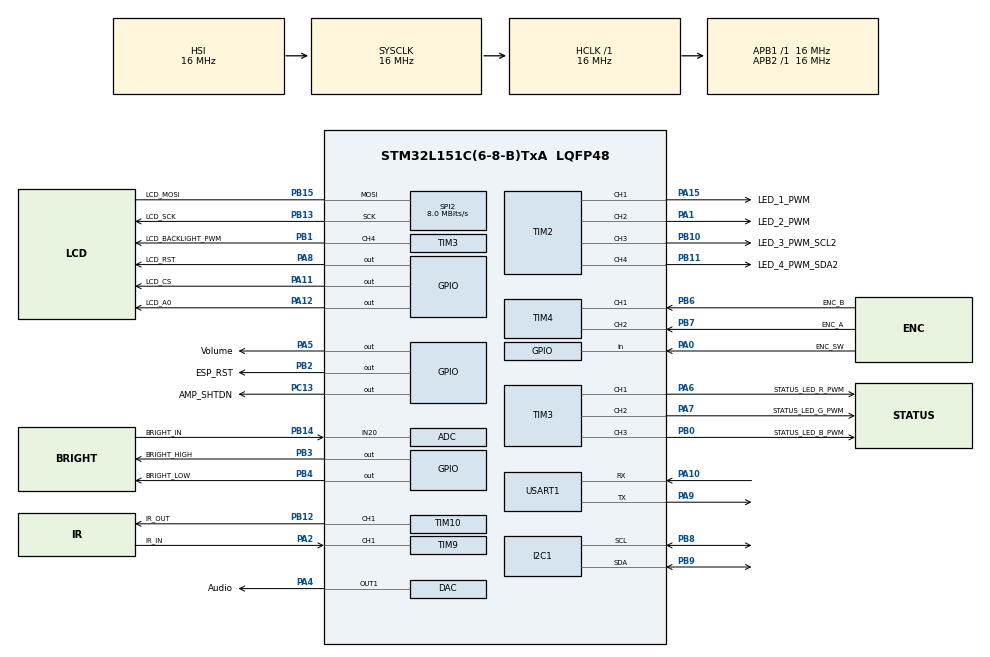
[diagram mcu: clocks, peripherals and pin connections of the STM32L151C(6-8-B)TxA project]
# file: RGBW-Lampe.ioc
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ADC.Channel-0\#ChannelRegularConversion=ADC_CHANNEL_20
ADC.ClockPrescaler=ADC_CLOCK_ASYNC_DIV4
ADC.NbrOfConversionFlag=1
ADC.Rank-0\#ChannelRegularConversion=1
ADC.SamplingTime-0\#ChannelRegularConversion=ADC_SAMPLETIME_384CYCLES
DAC.DAC_Trigger=DAC_TRIGGER_T7_TRGO
Dma.DAC_CH1.2.Direction=DMA_MEMORY_TO_PERIPH
Dma.DAC_CH1.2.Instance=DMA1_Channel2
Dma.DAC_CH1.2.MemDataAlignment=DMA_MDATAALIGN_WORD
Dma.DAC_CH1.2.MemInc=DMA_MINC_ENABLE
Dma.DAC_CH1.2.Mode=DMA_CIRCULAR
Dma.DAC_CH1.2.PeriphDataAlignment=DMA_PDATAALIGN_WORD
Dma.DAC_CH1.2.PeriphInc=DMA_PINC_DISABLE
Dma.DAC_CH1.2.Priority=DMA_PRIORITY_LOW
Dma.Request0=USART1_RX
Dma.Request1=USART1_TX
Dma.Request2=DAC_CH1
Dma.USART1_RX.0.Direction=DMA_PERIPH_TO_MEMORY
Dma.USART1_RX.0.Instance=DMA1_Channel5
Dma.USART1_RX.0.MemDataAlignment=DMA_MDATAALIGN_BYTE
Dma.USART1_RX.0.MemInc=DMA_MINC_ENABLE
Dma.USART1_RX.0.Mode=DMA_CIRCULAR
Dma.USART1_RX.0.PeriphDataAlignment=DMA_PDATAALIGN_BYTE
Dma.USART1_RX.0.PeriphInc=DMA_PINC_DISABLE
Dma.USART1_RX.0.Priority=DMA_PRIORITY_LOW
Dma.USART1_TX.1.Direction=DMA_MEMORY_TO_PERIPH
Dma.USART1_TX.1.Instance=DMA1_Channel4
Dma.USART1_TX.1.MemDataAlignment=DMA_MDATAALIGN_BYTE
Dma.USART1_TX.1.MemInc=DMA_MINC_ENABLE
Dma.USART1_TX.1.Mode=DMA_NORMAL
Dma.USART1_TX.1.PeriphDataAlignment=DMA_PDATAALIGN_BYTE
Dma.USART1_TX.1.PeriphInc=DMA_PINC_DISABLE
Dma.USART1_TX.1.Priority=DMA_PRIORITY_LOW
Mcu.Family=STM32L1
Mcu.Name=STM32L151C(6-8-B)TxA
Mcu.Package=LQFP48
NVIC.ADC1_IRQn=true\:0\:0\:false\:false\:true\:true\:true\:true
NVIC.DMA1_Channel2_IRQn=true\:0\:0\:false\:false\:true\:false\:true\:true
NVIC.DMA1_Channel4_IRQn=true\:0\:0\:false\:false\:true\:false\:true\:true
NVIC.DMA1_Channel5_IRQn=true\:0\:0\:false\:false\:true\:false\:true\:true
NVIC.PriorityGroup=NVIC_PRIORITYGROUP_4
NVIC.RTC_Alarm_IRQn=true\:0\:0\:false\:false\:true\:true\:true\:true
NVIC.TIM10_IRQn=true\:0\:0\:false\:false\:true\:true\:true\:true
NVIC.TIM11_IRQn=true\:0\:0\:false\:false\:true\:true\:true\:true
NVIC.TIM6_IRQn=true\:0\:0\:false\:false\:true\:true\:true\:true
NVIC.USART1_IRQn=true\:0\:0\:false\:false\:true\:true\:true\:true
PA0-WKUP1.GPIO_Label=ENC_SW
PA0-WKUP1.GPIO_PuPd=GPIO_PULLUP
PA0-WKUP1.Signal=GPIO_Input
PA1.GPIO_Label=LED_2_PWM
PA1.GPIO_Speed=GPIO_SPEED_FREQ_LOW
PA1.Signal=S_TIM2_CH2
PA10.GPIO_PuPd=GPIO_PULLDOWN
PA10.GPIO_Speed=GPIO_SPEED_FREQ_HIGH
PA10.Mode=Asynchronous
PA10.Signal=USART1_RX
PA11.GPIO_Label=LCD_CS
PA11.Signal=GPIO_Output
PA12.GPIO_Label=LCD_A0
PA12.Signal=GPIO_Output
PA13.Mode=Serial_Wire
PA13.Signal=SYS_JTMS-SWDIO
PA14.Mode=Serial_Wire
PA14.Signal=SYS_JTCK-SWCLK
PA15.GPIO_Label=LED_1_PWM
PA15.Signal=S_TIM2_CH1_ETR
PA2.GPIO_Label=IR_IN
PA2.GPIO_PuPd=GPIO_PULLUP
PA2.GPIO_Speed=GPIO_SPEED_FREQ_MEDIUM
PA2.Signal=S_TIM9_CH1
PA4.GPIO_Label=Audio
PA4.Signal=COMP_DAC1_group
PA5.GPIO_Label=Volume
PA5.GPIO_ModeDefaultOutputPP=GPIO_MODE_OUTPUT_OD
PA5.GPIO_PuPd=GPIO_NOPULL
PA5.Signal=GPIO_Output
PA6.GPIO_Label=STATUS_LED_R_PWM
PA6.Signal=S_TIM3_CH1
PA7.GPIO_Label=STATUS_LED_G_PWM
PA7.Signal=S_TIM3_CH2
PA8.GPIO_Label=LCD_RST
PA8.Signal=GPIO_Output
PA9.GPIO_Speed=GPIO_SPEED_FREQ_HIGH
PA9.Mode=Asynchronous
PA9.Signal=USART1_TX
PB0.GPIO_Label=STATUS_LED_B_PWM
PB0.Signal=S_TIM3_CH3
PB1.GPIO_Label=LCD_BACKLIGHT_PWM
PB1.Signal=S_TIM3_CH4
PB10.GPIO_Label=LED_3_PWM_SCL2
PB10.Signal=S_TIM2_CH3
PB11.GPIO_Label=LED_4_PWM_SDA2
PB11.Signal=S_TIM2_CH4
PB12.GPIO_Label=IR_OUT
PB12.GPIO_PuPd=GPIO_PULLDOWN
PB12.GPIO_Speed=GPIO_SPEED_FREQ_HIGH
PB12.Signal=S_TIM10_CH1
PB13.GPIO_Label=LCD_SCK
PB13.Mode=Simplex_Bidirectional_Master
PB13.Signal=SPI2_SCK
PB14.GPIO_Label=BRIGHT_IN
PB14.Mode=IN20
PB14.Signal=ADC_IN20
PB15.GPIO_Label=LCD_MOSI
PB15.Mode=Simplex_Bidirectional_Master
PB15.Signal=SPI2_MOSI
PB2.GPIO_Label=ESP_RST
PB2.PinState=GPIO_PIN_SET
PB2.Signal=GPIO_Output
PB3.GPIO_Label=BRIGHT_HIGH
PB3.GPIO_ModeDefaultOutputPP=GPIO_MODE_OUTPUT_PP
PB3.PinState=GPIO_PIN_SET
PB3.Signal=GPIO_Output
PB4.GPIO_Label=BRIGHT_LOW
PB4.PinState=GPIO_PIN_SET
PB4.Signal=GPIO_Output
PB6.GPIO_Label=ENC_B
PB6.GPIO_PuPd=GPIO_PULLUP
PB6.Signal=S_TIM4_CH1
PB7.GPIO_Label=ENC_A
PB7.GPIO_PuPd=GPIO_PULLUP
PB7.Signal=S_TIM4_CH2
PB8.GPIO_Pu=GPIO_PULLUP
PB8.Mode=I2C
PB8.Signal=I2C1_SCL
PB9.GPIO_Pu=GPIO_PULLUP
PB9.Mode=I2C
PB9.Signal=I2C1_SDA
PC13-WKUP2.GPIO_Label=AMP_SHTDN
PC13-WKUP2.GPIO_ModeDefaultOutputPP=GPIO_MODE_OUTPUT_PP
PC13-WKUP2.GPIO_PuPd=GPIO_NOPULL
PC13-WKUP2.PinState=GPIO_PIN_SET
PC13-WKUP2.Signal=GPIO_Output
PC14-OSC32_IN.Mode=LSE-External-Oscillator
PC14-OSC32_IN.Signal=RCC_OSC32_IN
PC15-OSC32_OUT.Mode=LSE-External-Oscillator
PC15-OSC32_OUT.Signal=RCC_OSC32_OUT
PH0-OSC_IN.Signal=RCC_OSC_IN
PH1-OSC_OUT.Signal=RCC_OSC_OUT
ProjectManager.HeapSize=0x200
ProjectManager.StackSize=0x400
ProjectManager.TargetToolchain=STM32CubeIDE
RCC.48MHZClocksFreq_Value=32000000
RCC.AHBFreq_Value=16000000
RCC.APB1Freq_Value=16000000
RCC.APB1TimFreq_Value=16000000
RCC.APB2Freq_Value=16000000
RCC.APB2TimFreq_Value=16000000
RCC.HCLKFreq_Value=16000000
RCC.HSE_VALUE=24000000
RCC.HSI_VALUE=16000000
RCC.MSI_VALUE=2097000
RCC.PLLMUL=RCC_PLL_MUL4
RCC.PREFETCH_ENABLE=1
RCC.RTCClockSelection=RCC_RTCCLKSOURCE_LSE
RCC.RTCClockSelectionVirtual=RCC_RTCCLKSOURCE_LSE
RCC.SYSCLKFreq_VALUE=16000000
RCC.SYSCLKSource=RCC_SYSCLKSOURCE_HSI
RCC.VCOOutputFreq_Value=64000000
RTC.Alarm-Alarm\ A=RTC_ALARM_A
RTC.Format=RTC_FORMAT_BIN
RTC.Year=23
SH.COMP_DAC1_group.0=DAC_OUT1,DAC_OUT1
SH.S_TIM10_CH1.0=TIM10_CH1,PWM Generation1 CH1
SH.S_TIM2_CH1_ETR.0=TIM2_CH1,PWM Generation1 CH1
SH.S_TIM2_CH2.0=TIM2_CH2,PWM Generation2 CH2
SH.S_TIM2_CH3.0=TIM2_CH3,PWM Generation3 CH3
SH.S_TIM2_CH4.0=TIM2_CH4,PWM Generation4 CH4
SH.S_TIM3_CH1.0=TIM3_CH1,PWM Generation1 CH1
SH.S_TIM3_CH2.0=TIM3_CH2,PWM Generation2 CH2
SH.S_TIM3_CH3.0=TIM3_CH3,PWM Generation3 CH3
SH.S_TIM3_CH4.0=TIM3_CH4,PWM Generation4 CH4
SH.S_TIM4_CH1.0=TIM4_CH1,Encoder_Interface
SH.S_TIM4_CH2.0=TIM4_CH2,Encoder_Interface
SH.S_TIM9_CH1.0=TIM9_CH1,Input_Capture1_from_TI1
SPI2.BaudRatePrescaler=SPI_BAUDRATEPRESCALER_2
SPI2.CalculateBaudRate=8.0 MBits/s
SPI2.Direction=SPI_DIRECTION_1LINE
SPI2.Mode=SPI_MODE_MASTER
SPI2.VirtualType=VM_MASTER
TIM10.Channel=TIM_CHANNEL_1
TIM10.Period=444
TIM10.Pulse=111
TIM11.Period=1600
TIM11.Prescaler=100
TIM2.Channel-PWM\ Generation1\ CH1=TIM_CHANNEL_1
TIM2.Channel-PWM\ Generation2\ CH2=TIM_CHANNEL_2
TIM2.Channel-PWM\ Generation3\ CH3=TIM_CHANNEL_3
TIM2.Channel-PWM\ Generation4\ CH4=TIM_CHANNEL_4
TIM3.Channel-PWM\ Generation1\ CH1=TIM_CHANNEL_1
TIM3.Channel-PWM\ Generation2\ CH2=TIM_CHANNEL_2
TIM3.Channel-PWM\ Generation3\ CH3=TIM_CHANNEL_3
TIM3.Channel-PWM\ Generation4\ CH4=TIM_CHANNEL_4
TIM3.Pulse-PWM\ Generation1\ CH1=0
TIM3.Pulse-PWM\ Generation2\ CH2=0
TIM3.Pulse-PWM\ Generation3\ CH3=0
TIM6.Period=3556
TIM7.Period=100
TIM7.Prescaler=1
TIM7.TIM_MasterOutputTrigger=TIM_TRGO_UPDATE
TIM9.Channel-Input_Capture1_from_TI1=TIM_CHANNEL_1
USART1.VirtualMode=VM_ASYNC
VP_CRC_VS_CRC.Mode=CRC_Activate
VP_RTC_VS_RTC_Activate.Mode=RTC_Enabled
VP_RTC_VS_RTC_Alarm_A_Intern.Mode=Alarm A
VP_RTC_VS_RTC_Calendar.Mode=RTC_Calendar
VP_TIM11_VS_ClockSourceINT.Mode=Internal
VP_TIM6_VS_ClockSourceINT.Mode=Enable_Timer
VP_TIM7_VS_ClockSourceINT.Mode=Enable_Timer
VP_TIM9_VS_ClockSourceINT.Mode=Internal
board=custom

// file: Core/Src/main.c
/* USER CODE BEGIN Header */
/**
 ******************************************************************************
 * @file           : main.c
 * @brief          : Main program body
 ******************************************************************************
 * @attention
 *
 * Copyright (c) 2022 STMicroelectronics.
 * All rights reserved.
 *
 * This software is licensed under terms that can be found in the LICENSE file
 * in the root directory of this software component.
 * If no LICENSE file comes with this software, it is provided AS-IS.
 *
 ******************************************************************************
 */
/* USER CODE END Header */
#include "main.h"

ADC_HandleTypeDef hadc;

CRC_HandleTypeDef hcrc;

DAC_HandleTypeDef hdac;
DMA_HandleTypeDef hdma_dac_ch1;

I2C_HandleTypeDef hi2c1;

RTC_HandleTypeDef hrtc;

SPI_HandleTypeDef hspi2;

TIM_HandleTypeDef htim2;
TIM_HandleTypeDef htim3;
TIM_HandleTypeDef htim4;
TIM_HandleTypeDef htim6;
TIM_HandleTypeDef htim7;
TIM_HandleTypeDef htim9;
TIM_HandleTypeDef htim10;
TIM_HandleTypeDef htim11;

UART_HandleTypeDef huart1;
DMA_HandleTypeDef hdma_usart1_rx;
DMA_HandleTypeDef hdma_usart1_tx;

/* USER CODE BEGIN PV */
bool volatile TimerFlag;
/* USER CODE END PV */

void SystemClock_Config(void);
static void MX_GPIO_Init(void);
static void MX_DMA_Init(void);
static void MX_ADC_Init(void);
static void MX_DAC_Init(void);
static void MX_I2C1_Init(void);
static void MX_SPI2_Init(void);
static void MX_TIM2_Init(void);
static void MX_TIM3_Init(void);
static void MX_TIM4_Init(void);
static void MX_TIM9_Init(void);
static void MX_USART1_UART_Init(void);
static void MX_RTC_Init(void);
static void MX_TIM11_Init(void);
static void MX_TIM6_Init(void);
static void MX_CRC_Init(void);
static void MX_TIM7_Init(void);
static void MX_TIM10_Init(void);
/* USER CODE BEGIN PFP */
#define PUTCHAR_PROTOTYPE int __io_putchar(int ch)
/* USER CODE END PFP */

int main(void)
{

  /* MCU Configuration--------------------------------------------------------*/

  /* Reset of all peripherals, Initializes the Flash interface and the Systick. */
  HAL_Init();

  /* Configure the system clock */
  SystemClock_Config();

  /* Initialize all configured peripherals */
  MX_GPIO_Init();
  MX_DMA_Init();
  MX_ADC_Init();
  MX_DAC_Init();
  MX_I2C1_Init();
  MX_SPI2_Init();
  MX_TIM2_Init();
  MX_TIM3_Init();
  MX_TIM4_Init();
  MX_TIM9_Init();
  MX_USART1_UART_Init();
  MX_RTC_Init();
  MX_TIM11_Init();
  MX_TIM6_Init();
  MX_CRC_Init();
  MX_TIM7_Init();
  MX_TIM10_Init();
  /* USER CODE BEGIN 2 */
  	// DMA: UART, DAC
  	// ADC: external brightness
    // DAC: acoustic alarm signal generation
    // I2C1: acceleration sensor (planned)
    // SPI2: display (planned)
  	// TIM2: LED PWM
  	// TIM3: status LED PWM
    // TIM4: rotational encoder
	// TIM6: RC5 decoder timing
	// TIM7: acoustic alarm signal generation
    // TIM9: alternative RC5 decoder (planned)
    // TIM10: RC5 sender
    // TIM11: main control loop
    // USART1: terminal
    // CRC: EEPROM change check

	//load RAM values from EEPROM
	SettingsInit(&hcrc);

	Init_Terminal(&huart1);
	SettingsCommands_Init();
	Rtc_Init();
	PWM_Init(&htim2);
	Status_LED_Init(&htim3);
	Encoder_Init(&htim4);
	Init_ExtBrightness(&hadc);
	Init_FadeLight();
	RC5_Init(&htim6, &htim10);

	/*##-1- Start the TIM Base generation in interrupt mode ####################*/
	pTIM_CallbackTypeDef pMainTimerCallback = *MainTimerCallback;
	HAL_TIM_RegisterCallback(&htim11, HAL_TIM_PERIOD_ELAPSED_CB_ID, pMainTimerCallback);
	HAL_TIM_Base_Start_IT(&htim11); //main control loop

	SwAllLightOn();
  /* USER CODE END 2 */

  /* Infinite loop */
  /* USER CODE BEGIN WHILE */
	while (1)
	{
		if(TimerFlag)
		{
			TimerFlag=0;
			Keys(!HAL_GPIO_ReadPin(ENC_SW_GPIO_Port, ENC_SW_Pin));
			Encoder();
			MainMenu();
			Sample_ExtBrightness();
			LEDOptions();
		}
		Execute_Terminal();
		HAL_PWR_EnterSLEEPMode(PWR_MAINREGULATOR_ON, PWR_SLEEPENTRY_WFI);
    /* USER CODE END WHILE */

	}
}

void SystemClock_Config(void)
{
  RCC_OscInitTypeDef RCC_OscInitStruct = {0};
  RCC_ClkInitTypeDef RCC_ClkInitStruct = {0};
  RCC_PeriphCLKInitTypeDef PeriphClkInit = {0};

  /** Configure the main internal regulator output voltage
  */
  __HAL_PWR_VOLTAGESCALING_CONFIG(PWR_REGULATOR_VOLTAGE_SCALE1);

  /** Initializes the RCC Oscillators according to the specified parameters
  * in the RCC_OscInitTypeDef structure.
  */
  RCC_OscInitStruct.OscillatorType = RCC_OSCILLATORTYPE_HSI|RCC_OSCILLATORTYPE_LSE;
  RCC_OscInitStruct.LSEState = RCC_LSE_ON;
  RCC_OscInitStruct.HSIState = RCC_HSI_ON;
  RCC_OscInitStruct.HSICalibrationValue = RCC_HSICALIBRATION_DEFAULT;
  RCC_OscInitStruct.PLL.PLLState = RCC_PLL_NONE;
  if (HAL_RCC_OscConfig(&RCC_OscInitStruct) != HAL_OK)
  {
    Error_Handler();
  }

  /** Initializes the CPU, AHB and APB buses clocks
  */
  RCC_ClkInitStruct.ClockType = RCC_CLOCKTYPE_HCLK|RCC_CLOCKTYPE_SYSCLK
                              |RCC_CLOCKTYPE_PCLK1|RCC_CLOCKTYPE_PCLK2;
  RCC_ClkInitStruct.SYSCLKSource = RCC_SYSCLKSOURCE_HSI;
  RCC_ClkInitStruct.AHBCLKDivider = RCC_SYSCLK_DIV1;
  RCC_ClkInitStruct.APB1CLKDivider = RCC_HCLK_DIV1;
  RCC_ClkInitStruct.APB2CLKDivider = RCC_HCLK_DIV1;

  if (HAL_RCC_ClockConfig(&RCC_ClkInitStruct, FLASH_LATENCY_0) != HAL_OK)
  {
    Error_Handler();
  }
  PeriphClkInit.PeriphClockSelection = RCC_PERIPHCLK_RTC;
  PeriphClkInit.RTCClockSelection = RCC_RTCCLKSOURCE_LSE;
  if (HAL_RCCEx_PeriphCLKConfig(&PeriphClkInit) != HAL_OK)
  {
    Error_Handler();
  }
}

static void MX_ADC_Init(void)
{

  ADC_ChannelConfTypeDef sConfig = {0};

  /** Configure the global features of the ADC (Clock, Resolution, Data Alignment and number of conversion)
  */
  hadc.Instance = ADC1;
  hadc.Init.ClockPrescaler = ADC_CLOCK_ASYNC_DIV4;
  hadc.Init.Resolution = ADC_RESOLUTION_12B;
  hadc.Init.DataAlign = ADC_DATAALIGN_RIGHT;
  hadc.Init.ScanConvMode = ADC_SCAN_DISABLE;
  hadc.Init.EOCSelection = ADC_EOC_SEQ_CONV;
  hadc.Init.LowPowerAutoWait = ADC_AUTOWAIT_DISABLE;
  hadc.Init.LowPowerAutoPowerOff = ADC_AUTOPOWEROFF_DISABLE;
  hadc.Init.ChannelsBank = ADC_CHANNELS_BANK_A;
  hadc.Init.ContinuousConvMode = DISABLE;
  hadc.Init.NbrOfConversion = 1;
  hadc.Init.DiscontinuousConvMode = DISABLE;
  hadc.Init.ExternalTrigConv = ADC_SOFTWARE_START;
  hadc.Init.ExternalTrigConvEdge = ADC_EXTERNALTRIGCONVEDGE_NONE;
  hadc.Init.DMAContinuousRequests = DISABLE;
  if (HAL_ADC_Init(&hadc) != HAL_OK)
  {
    Error_Handler();
  }

  /** Configure for the selected ADC regular channel its corresponding rank in the sequencer and its sample time.
  */
  sConfig.Channel = ADC_CHANNEL_20;
  sConfig.Rank = ADC_REGULAR_RANK_1;
  sConfig.SamplingTime = ADC_SAMPLETIME_384CYCLES;
  if (HAL_ADC_ConfigChannel(&hadc, &sConfig) != HAL_OK)
  {
    Error_Handler();
  }

}

static void MX_CRC_Init(void)
{

  hcrc.Instance = CRC;
  if (HAL_CRC_Init(&hcrc) != HAL_OK)
  {
    Error_Handler();
  }

}

static void MX_DAC_Init(void)
{

  DAC_ChannelConfTypeDef sConfig = {0};

  /** DAC Initialization
  */
  hdac.Instance = DAC;
  if (HAL_DAC_Init(&hdac) != HAL_OK)
  {
    Error_Handler();
  }

  /** DAC channel OUT1 config
  */
  sConfig.DAC_Trigger = DAC_TRIGGER_T7_TRGO;
  sConfig.DAC_OutputBuffer = DAC_OUTPUTBUFFER_ENABLE;
  if (HAL_DAC_ConfigChannel(&hdac, &sConfig, DAC_CHANNEL_1) != HAL_OK)
  {
    Error_Handler();
  }

}

static void MX_I2C1_Init(void)
{

  hi2c1.Instance = I2C1;
  hi2c1.Init.ClockSpeed = 100000;
  hi2c1.Init.DutyCycle = I2C_DUTYCYCLE_2;
  hi2c1.Init.OwnAddress1 = 0;
  hi2c1.Init.AddressingMode = I2C_ADDRESSINGMODE_7BIT;
  hi2c1.Init.DualAddressMode = I2C_DUALADDRESS_DISABLE;
  hi2c1.Init.OwnAddress2 = 0;
  hi2c1.Init.GeneralCallMode = I2C_GENERALCALL_DISABLE;
  hi2c1.Init.NoStretchMode = I2C_NOSTRETCH_DISABLE;
  if (HAL_I2C_Init(&hi2c1) != HAL_OK)
  {
    Error_Handler();
  }

}

static void MX_RTC_Init(void)
{

  RTC_TimeTypeDef sTime = {0};
  RTC_DateTypeDef sDate = {0};
  RTC_AlarmTypeDef sAlarm = {0};

  /** Initialize RTC Only
  */
  hrtc.Instance = RTC;
  hrtc.Init.HourFormat = RTC_HOURFORMAT_24;
  hrtc.Init.AsynchPrediv = 127;
  hrtc.Init.SynchPrediv = 255;
  hrtc.Init.OutPut = RTC_OUTPUT_DISABLE;
  hrtc.Init.OutPutPolarity = RTC_OUTPUT_POLARITY_HIGH;
  hrtc.Init.OutPutType = RTC_OUTPUT_TYPE_OPENDRAIN;
  if (HAL_RTC_Init(&hrtc) != HAL_OK)
  {
    Error_Handler();
  }

  /** Initialize RTC and set the Time and Date
  */
  sTime.Hours = 0;
  sTime.Minutes = 0;
  sTime.Seconds = 0;
  sTime.DayLightSaving = RTC_DAYLIGHTSAVING_NONE;
  sTime.StoreOperation = RTC_STOREOPERATION_RESET;
  if (HAL_RTC_SetTime(&hrtc, &sTime, RTC_FORMAT_BIN) != HAL_OK)
  {
    Error_Handler();
  }
  sDate.WeekDay = RTC_WEEKDAY_MONDAY;
  sDate.Month = RTC_MONTH_JANUARY;
  sDate.Date = 1;
  sDate.Year = 23;

  if (HAL_RTC_SetDate(&hrtc, &sDate, RTC_FORMAT_BIN) != HAL_OK)
  {
    Error_Handler();
  }

  /** Enable the Alarm A
  */
  sAlarm.AlarmTime.Hours = 0;
  sAlarm.AlarmTime.Minutes = 0;
  sAlarm.AlarmTime.Seconds = 0;
  sAlarm.AlarmTime.SubSeconds = 0;
  sAlarm.AlarmTime.DayLightSaving = RTC_DAYLIGHTSAVING_NONE;
  sAlarm.AlarmTime.StoreOperation = RTC_STOREOPERATION_RESET;
  sAlarm.AlarmMask = RTC_ALARMMASK_NONE;
  sAlarm.AlarmSubSecondMask = RTC_ALARMSUBSECONDMASK_ALL;
  sAlarm.AlarmDateWeekDaySel = RTC_ALARMDATEWEEKDAYSEL_DATE;
  sAlarm.AlarmDateWeekDay = 1;
  sAlarm.Alarm = RTC_ALARM_A;
  if (HAL_RTC_SetAlarm_IT(&hrtc, &sAlarm, RTC_FORMAT_BIN) != HAL_OK)
  {
    Error_Handler();
  }

}

static void MX_SPI2_Init(void)
{

  /* SPI2 parameter configuration*/
  hspi2.Instance = SPI2;
  hspi2.Init.Mode = SPI_MODE_MASTER;
  hspi2.Init.Direction = SPI_DIRECTION_1LINE;
  hspi2.Init.DataSize = SPI_DATASIZE_8BIT;
  hspi2.Init.CLKPolarity = SPI_POLARITY_LOW;
  hspi2.Init.CLKPhase = SPI_PHASE_1EDGE;
  hspi2.Init.NSS = SPI_NSS_SOFT;
  hspi2.Init.BaudRatePrescaler = SPI_BAUDRATEPRESCALER_2;
  hspi2.Init.FirstBit = SPI_FIRSTBIT_MSB;
  hspi2.Init.TIMode = SPI_TIMODE_DISABLE;
  hspi2.Init.CRCCalculation = SPI_CRCCALCULATION_DISABLE;
  hspi2.Init.CRCPolynomial = 10;
  if (HAL_SPI_Init(&hspi2) != HAL_OK)
  {
    Error_Handler();
  }

}

static void MX_TIM2_Init(void)
{

  TIM_MasterConfigTypeDef sMasterConfig = {0};
  TIM_OC_InitTypeDef sConfigOC = {0};

  htim2.Instance = TIM2;
  htim2.Init.Prescaler = 0;
  htim2.Init.CounterMode = TIM_COUNTERMODE_UP;
  htim2.Init.Period = 65535;
  htim2.Init.ClockDivision = TIM_CLOCKDIVISION_DIV1;
  htim2.Init.AutoReloadPreload = TIM_AUTORELOAD_PRELOAD_DISABLE;
  if (HAL_TIM_PWM_Init(&htim2) != HAL_OK)
  {
    Error_Handler();
  }
  sMasterConfig.MasterOutputTrigger = TIM_TRGO_RESET;
  sMasterConfig.MasterSlaveMode = TIM_MASTERSLAVEMODE_DISABLE;
  if (HAL_TIMEx_MasterConfigSynchronization(&htim2, &sMasterConfig) != HAL_OK)
  {
    Error_Handler();
  }
  sConfigOC.OCMode = TIM_OCMODE_PWM1;
  sConfigOC.Pulse = 0;
  sConfigOC.OCPolarity = TIM_OCPOLARITY_HIGH;
  sConfigOC.OCFastMode = TIM_OCFAST_DISABLE;
  if (HAL_TIM_PWM_ConfigChannel(&htim2, &sConfigOC, TIM_CHANNEL_1) != HAL_OK)
  {
    Error_Handler();
  }
  if (HAL_TIM_PWM_ConfigChannel(&htim2, &sConfigOC, TIM_CHANNEL_2) != HAL_OK)
  {
    Error_Handler();
  }
  if (HAL_TIM_PWM_ConfigChannel(&htim2, &sConfigOC, TIM_CHANNEL_3) != HAL_OK)
  {
    Error_Handler();
  }
  if (HAL_TIM_PWM_ConfigChannel(&htim2, &sConfigOC, TIM_CHANNEL_4) != HAL_OK)
  {
    Error_Handler();
  }
  HAL_TIM_MspPostInit(&htim2);

}

static void MX_TIM3_Init(void)
{

  TIM_MasterConfigTypeDef sMasterConfig = {0};
  TIM_OC_InitTypeDef sConfigOC = {0};

  htim3.Instance = TIM3;
  htim3.Init.Prescaler = 0;
  htim3.Init.CounterMode = TIM_COUNTERMODE_UP;
  htim3.Init.Period = 65535;
  htim3.Init.ClockDivision = TIM_CLOCKDIVISION_DIV1;
  htim3.Init.AutoReloadPreload = TIM_AUTORELOAD_PRELOAD_DISABLE;
  if (HAL_TIM_PWM_Init(&htim3) != HAL_OK)
  {
    Error_Handler();
  }
  sMasterConfig.MasterOutputTrigger = TIM_TRGO_RESET;
  sMasterConfig.MasterSlaveMode = TIM_MASTERSLAVEMODE_DISABLE;
  if (HAL_TIMEx_MasterConfigSynchronization(&htim3, &sMasterConfig) != HAL_OK)
  {
    Error_Handler();
  }
  sConfigOC.OCMode = TIM_OCMODE_PWM1;
  sConfigOC.Pulse = 0;
  sConfigOC.OCPolarity = TIM_OCPOLARITY_HIGH;
  sConfigOC.OCFastMode = TIM_OCFAST_DISABLE;
  if (HAL_TIM_PWM_ConfigChannel(&htim3, &sConfigOC, TIM_CHANNEL_1) != HAL_OK)
  {
    Error_Handler();
  }
  if (HAL_TIM_PWM_ConfigChannel(&htim3, &sConfigOC, TIM_CHANNEL_2) != HAL_OK)
  {
    Error_Handler();
  }
  if (HAL_TIM_PWM_ConfigChannel(&htim3, &sConfigOC, TIM_CHANNEL_3) != HAL_OK)
  {
    Error_Handler();
  }
  if (HAL_TIM_PWM_ConfigChannel(&htim3, &sConfigOC, TIM_CHANNEL_4) != HAL_OK)
  {
    Error_Handler();
  }
  HAL_TIM_MspPostInit(&htim3);

}

static void MX_TIM4_Init(void)
{

  TIM_Encoder_InitTypeDef sConfig = {0};
  TIM_MasterConfigTypeDef sMasterConfig = {0};

  htim4.Instance = TIM4;
  htim4.Init.Prescaler = 0;
  htim4.Init.CounterMode = TIM_COUNTERMODE_UP;
  htim4.Init.Period = 65535;
  htim4.Init.ClockDivision = TIM_CLOCKDIVISION_DIV1;
  htim4.Init.AutoReloadPreload = TIM_AUTORELOAD_PRELOAD_DISABLE;
  sConfig.EncoderMode = TIM_ENCODERMODE_TI1;
  sConfig.IC1Polarity = TIM_ICPOLARITY_RISING;
  sConfig.IC1Selection = TIM_ICSELECTION_DIRECTTI;
  sConfig.IC1Prescaler = TIM_ICPSC_DIV1;
  sConfig.IC1Filter = 0;
  sConfig.IC2Polarity = TIM_ICPOLARITY_RISING;
  sConfig.IC2Selection = TIM_ICSELECTION_DIRECTTI;
  sConfig.IC2Prescaler = TIM_ICPSC_DIV1;
  sConfig.IC2Filter = 0;
  if (HAL_TIM_Encoder_Init(&htim4, &sConfig) != HAL_OK)
  {
    Error_Handler();
  }
  sMasterConfig.MasterOutputTrigger = TIM_TRGO_RESET;
  sMasterConfig.MasterSlaveMode = TIM_MASTERSLAVEMODE_DISABLE;
  if (HAL_TIMEx_MasterConfigSynchronization(&htim4, &sMasterConfig) != HAL_OK)
  {
    Error_Handler();
  }

}

static void MX_TIM6_Init(void)
{

  TIM_MasterConfigTypeDef sMasterConfig = {0};

  htim6.Instance = TIM6;
  htim6.Init.Prescaler = 0;
  htim6.Init.CounterMode = TIM_COUNTERMODE_UP;
  htim6.Init.Period = 3556;
  htim6.Init.AutoReloadPreload = TIM_AUTORELOAD_PRELOAD_DISABLE;
  if (HAL_TIM_Base_Init(&htim6) != HAL_OK)
  {
    Error_Handler();
  }
  sMasterConfig.MasterOutputTrigger = TIM_TRGO_RESET;
  sMasterConfig.MasterSlaveMode = TIM_MASTERSLAVEMODE_DISABLE;
  if (HAL_TIMEx_MasterConfigSynchronization(&htim6, &sMasterConfig) != HAL_OK)
  {
    Error_Handler();
  }

}

static void MX_TIM7_Init(void)
{

  TIM_MasterConfigTypeDef sMasterConfig = {0};

  htim7.Instance = TIM7;
  htim7.Init.Prescaler = 1;
  htim7.Init.CounterMode = TIM_COUNTERMODE_UP;
  htim7.Init.Period = 100;
  htim7.Init.AutoReloadPreload = TIM_AUTORELOAD_PRELOAD_DISABLE;
  if (HAL_TIM_Base_Init(&htim7) != HAL_OK)
  {
    Error_Handler();
  }
  sMasterConfig.MasterOutputTrigger = TIM_TRGO_UPDATE;
  sMasterConfig.MasterSlaveMode = TIM_MASTERSLAVEMODE_DISABLE;
  if (HAL_TIMEx_MasterConfigSynchronization(&htim7, &sMasterConfig) != HAL_OK)
  {
    Error_Handler();
  }

}

static void MX_TIM9_Init(void)
{

  TIM_ClockConfigTypeDef sClockSourceConfig = {0};
  TIM_MasterConfigTypeDef sMasterConfig = {0};
  TIM_IC_InitTypeDef sConfigIC = {0};

  htim9.Instance = TIM9;
  htim9.Init.Prescaler = 0;
  htim9.Init.CounterMode = TIM_COUNTERMODE_UP;
  htim9.Init.Period = 65535;
  htim9.Init.ClockDivision = TIM_CLOCKDIVISION_DIV1;
  htim9.Init.AutoReloadPreload = TIM_AUTORELOAD_PRELOAD_DISABLE;
  if (HAL_TIM_Base_Init(&htim9) != HAL_OK)
  {
    Error_Handler();
  }
  sClockSourceConfig.ClockSource = TIM_CLOCKSOURCE_INTERNAL;
  if (HAL_TIM_ConfigClockSource(&htim9, &sClockSourceConfig) != HAL_OK)
  {
    Error_Handler();
  }
  if (HAL_TIM_IC_Init(&htim9) != HAL_OK)
  {
    Error_Handler();
  }
  sMasterConfig.MasterOutputTrigger = TIM_TRGO_RESET;
  sMasterConfig.MasterSlaveMode = TIM_MASTERSLAVEMODE_DISABLE;
  if (HAL_TIMEx_MasterConfigSynchronization(&htim9, &sMasterConfig) != HAL_OK)
  {
    Error_Handler();
  }
  sConfigIC.ICPolarity = TIM_INPUTCHANNELPOLARITY_RISING;
  sConfigIC.ICSelection = TIM_ICSELECTION_DIRECTTI;
  sConfigIC.ICPrescaler = TIM_ICPSC_DIV1;
  sConfigIC.ICFilter = 0;
  if (HAL_TIM_IC_ConfigChannel(&htim9, &sConfigIC, TIM_CHANNEL_1) != HAL_OK)
  {
    Error_Handler();
  }

}

static void MX_TIM10_Init(void)
{

  TIM_OC_InitTypeDef sConfigOC = {0};

  htim10.Instance = TIM10;
  htim10.Init.Prescaler = 0;
  htim10.Init.CounterMode = TIM_COUNTERMODE_UP;
  htim10.Init.Period = 444;
  htim10.Init.ClockDivision = TIM_CLOCKDIVISION_DIV1;
  htim10.Init.AutoReloadPreload = TIM_AUTORELOAD_PRELOAD_DISABLE;
  if (HAL_TIM_PWM_Init(&htim10) != HAL_OK)
  {
    Error_Handler();
  }
  sConfigOC.OCMode = TIM_OCMODE_PWM1;
  sConfigOC.Pulse = 111;
  sConfigOC.OCPolarity = TIM_OCPOLARITY_HIGH;
  sConfigOC.OCFastMode = TIM_OCFAST_DISABLE;
  if (HAL_TIM_PWM_ConfigChannel(&htim10, &sConfigOC, TIM_CHANNEL_1) != HAL_OK)
  {
    Error_Handler();
  }
  HAL_TIM_MspPostInit(&htim10);

}

static void MX_TIM11_Init(void)
{

  TIM_ClockConfigTypeDef sClockSourceConfig = {0};

  htim11.Instance = TIM11;
  htim11.Init.Prescaler = 100;
  htim11.Init.CounterMode = TIM_COUNTERMODE_UP;
  htim11.Init.Period = 1600;
  htim11.Init.ClockDivision = TIM_CLOCKDIVISION_DIV1;
  htim11.Init.AutoReloadPreload = TIM_AUTORELOAD_PRELOAD_DISABLE;
  if (HAL_TIM_Base_Init(&htim11) != HAL_OK)
  {
    Error_Handler();
  }
  sClockSourceConfig.ClockSource = TIM_CLOCKSOURCE_INTERNAL;
  if (HAL_TIM_ConfigClockSource(&htim11, &sClockSourceConfig) != HAL_OK)
  {
    Error_Handler();
  }

}

static void MX_USART1_UART_Init(void)
{

  huart1.Instance = USART1;
  huart1.Init.BaudRate = 115200;
  huart1.Init.WordLength = UART_WORDLENGTH_8B;
  huart1.Init.StopBits = UART_STOPBITS_1;
  huart1.Init.Parity = UART_PARITY_NONE;
  huart1.Init.Mode = UART_MODE_TX_RX;
  huart1.Init.HwFlowCtl = UART_HWCONTROL_NONE;
  huart1.Init.OverSampling = UART_OVERSAMPLING_16;
  if (HAL_UART_Init(&huart1) != HAL_OK)
  {
    Error_Handler();
  }

}

static void MX_DMA_Init(void)
{

  /* DMA controller clock enable */
  __HAL_RCC_DMA1_CLK_ENABLE();

  /* DMA interrupt init */
  /* DMA1_Channel2_IRQn interrupt configuration */
  HAL_NVIC_SetPriority(DMA1_Channel2_IRQn, 0, 0);
  HAL_NVIC_EnableIRQ(DMA1_Channel2_IRQn);
  /* DMA1_Channel4_IRQn interrupt configuration */
  HAL_NVIC_SetPriority(DMA1_Channel4_IRQn, 0, 0);
  HAL_NVIC_EnableIRQ(DMA1_Channel4_IRQn);
  /* DMA1_Channel5_IRQn interrupt configuration */
  HAL_NVIC_SetPriority(DMA1_Channel5_IRQn, 0, 0);
  HAL_NVIC_EnableIRQ(DMA1_Channel5_IRQn);

}

static void MX_GPIO_Init(void)
{
  GPIO_InitTypeDef GPIO_InitStruct = {0};

  /* GPIO Ports Clock Enable */
  __HAL_RCC_GPIOC_CLK_ENABLE();
  __HAL_RCC_GPIOH_CLK_ENABLE();
  __HAL_RCC_GPIOA_CLK_ENABLE();
  __HAL_RCC_GPIOB_CLK_ENABLE();

  /*Configure GPIO pin Output Level */
  HAL_GPIO_WritePin(AMP_SHTDN_GPIO_Port, AMP_SHTDN_Pin, GPIO_PIN_SET);

  /*Configure GPIO pin Output Level */
  HAL_GPIO_WritePin(GPIOA, Volume_Pin|LCD_RST_Pin|LCD_CS_Pin|LCD_A0_Pin, GPIO_PIN_RESET);

  /*Configure GPIO pin Output Level */
  HAL_GPIO_WritePin(GPIOB, ESP_RST_Pin|BRIGHT_HIGH_Pin|BRIGHT_LOW_Pin, GPIO_PIN_SET);

  /*Configure GPIO pin : AMP_SHTDN_Pin */
  GPIO_InitStruct.Pin = AMP_SHTDN_Pin;
  GPIO_InitStruct.Mode = GPIO_MODE_OUTPUT_PP;
  GPIO_InitStruct.Pull = GPIO_NOPULL;
  GPIO_InitStruct.Speed = GPIO_SPEED_FREQ_LOW;
  HAL_GPIO_Init(AMP_SHTDN_GPIO_Port, &GPIO_InitStruct);

  /*Configure GPIO pin : ENC_SW_Pin */
  GPIO_InitStruct.Pin = ENC_SW_Pin;
  GPIO_InitStruct.Mode = GPIO_MODE_INPUT;
  GPIO_InitStruct.Pull = GPIO_PULLUP;
  HAL_GPIO_Init(ENC_SW_GPIO_Port, &GPIO_InitStruct);

  /*Configure GPIO pin : Volume_Pin */
  GPIO_InitStruct.Pin = Volume_Pin;
  GPIO_InitStruct.Mode = GPIO_MODE_OUTPUT_OD;
  GPIO_InitStruct.Pull = GPIO_NOPULL;
  GPIO_InitStruct.Speed = GPIO_SPEED_FREQ_LOW;
  HAL_GPIO_Init(Volume_GPIO_Port, &GPIO_InitStruct);

  /*Configure GPIO pins : ESP_RST_Pin BRIGHT_HIGH_Pin BRIGHT_LOW_Pin */
  GPIO_InitStruct.Pin = ESP_RST_Pin|BRIGHT_HIGH_Pin|BRIGHT_LOW_Pin;
  GPIO_InitStruct.Mode = GPIO_MODE_OUTPUT_PP;
  GPIO_InitStruct.Pull = GPIO_NOPULL;
  GPIO_InitStruct.Speed = GPIO_SPEED_FREQ_LOW;
  HAL_GPIO_Init(GPIOB, &GPIO_InitStruct);

  /*Configure GPIO pins : LCD_RST_Pin LCD_CS_Pin LCD_A0_Pin */
  GPIO_InitStruct.Pin = LCD_RST_Pin|LCD_CS_Pin|LCD_A0_Pin;
  GPIO_InitStruct.Mode = GPIO_MODE_OUTPUT_PP;
  GPIO_InitStruct.Pull = GPIO_NOPULL;
  GPIO_InitStruct.Speed = GPIO_SPEED_FREQ_LOW;
  HAL_GPIO_Init(GPIOA, &GPIO_InitStruct);

}

/* USER CODE BEGIN 4 */

/*
 * @brief  Period elapsed callback in non blocking mode
 * @param  htim: TIM handle
 * @retval None
 */
void MainTimerCallback(TIM_HandleTypeDef *htim)
{
	//set flag, should be set at a frequency of 100Hz
	TimerFlag = true;
}

/* USER CODE END 4 */

void Error_Handler(void)
{
	__disable_irq();
	while (1)
	{
	}
}
